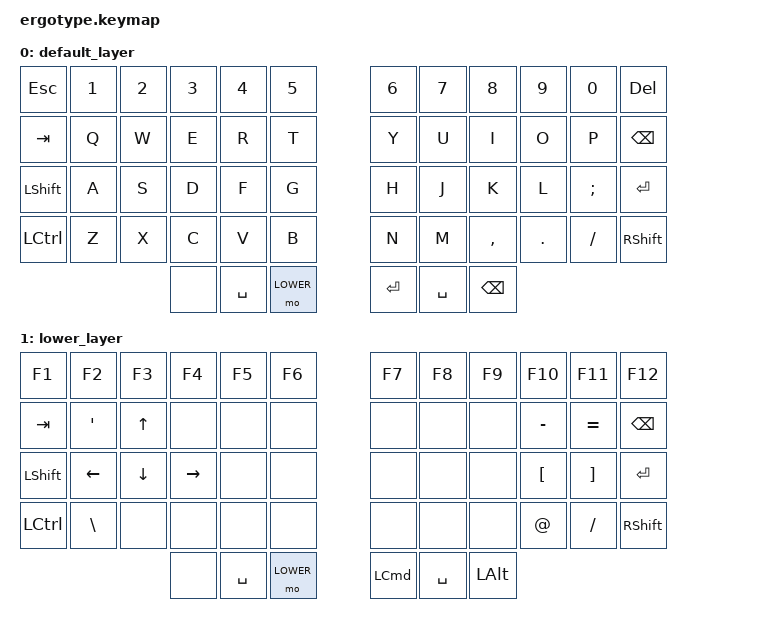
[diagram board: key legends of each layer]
#include <behaviors.dtsi>
#include <dt-bindings/zmk/keys.h>

#define DEFAULT 0
#define LOWER 1
// #define UPPER 2

/ {
    keymap {
        compatible = "zmk,keymap";

        default_layer {
// --------------------------------------------------------------------------------------------------------------------------------------------------------------------
// |   ESC   |    1    |    2    |    3    |    4    |    5    |                        |    6    |    7    |    8    |    9    |    0    |   DEL   |
// |   TAB   |    q    |    w    |    e    |    r    |    t    |                        |    y    |    u    |    i    |    o    |    p    |  BSPC   |
// |  SHIFT  |    a    |    s    |    d    |    f    |    g    |                        |    h    |    j    |    k    |    l    |    ;    |  ENTER  |
// |  CRTL   |    z    |    x    |    c    |    v    |    b    |                        |    n    |    m    |    ,    |    .    |    /    |  RSHIFT |
//                                         |   F2    |  SPACE  |   F1   |     |  ENTER  |  SPACE  |   BSPC  |
            bindings = <
                &kp ESC    &kp N1   &kp N2   &kp N3    &kp N4    &kp N5                                                &kp N6    &kp N7    &kp N8    &kp N9    &kp N0   &kp DEL
                &kp TAB    &kp Q    &kp W    &kp E     &kp R     &kp T                                                 &kp Y     &kp U     &kp I     &kp O     &kp P    &kp BSPC
                &kp LSHIFT &kp A    &kp S    &kp D     &kp F     &kp G                                                 &kp H     &kp J     &kp K     &kp L     &kp SEMI &kp ENTER
                &kp LCTRL  &kp Z    &kp X    &kp C     &kp V     &kp B                                                 &kp N     &kp M     &kp COMMA &kp DOT   &kp FSLH &kp RSHIFT
                                                       &none     &kp SPACE &mo LOWER                             &kp ENTER &kp SPACE &kp BSPC
            >;
        };

        lower_layer {
            // --------------------------------------------------------------------------------------------------------------------------------------------------------------------
            // |   F1    |    F2   |    F3   |    F4   |    F5   |    F6   |                        |    F7   |    F8   |    F9   |   F10   |   F11   |   F12   |
            // |   TAB   |    `    |    UP   |         |         |         |                        |         |         |         |    -    |    =    |  BSPC   |
            // |  SHIFT  |   LEFT  |  DOWN   |  RIGHT  |         |         |                        |         |         |         |    [    |    ]    |  ENTER  |
            // |  CRTL   |    \    |         |         |         |         |                        |         |         |         |    '    |    #    |  RSHIFT |
            //                                         |   F2    |  SPACE  |   F1   |     |   WND   |  SPACE  |   ALT   |

            bindings = <
                &kp F1     &kp F2   &kp F3   &kp F4    &kp F5    &kp F6                                &kp F7    &kp F8    &kp F9    &kp F10    &kp F11   &kp F12
                &kp TAB    &kp SQT  &kp UP   &none     &none     &none                                 &none     &none     &none     &kp MINUS  &kp EQUAL &kp BSPC
                &kp LSHIFT &kp LEFT &kp DOWN &kp RIGHT &none     &none                                 &none     &none     &none     &kp LBKT   &kp RBKT  &kp ENTER
                &kp LCTRL  &kp BSLH &none    &none     &none     &none                                 &none     &none     &none     &kp AT     &kp FSLH  &kp RSHIFT
                                                       &none     &kp SPACE &mo LOWER          &kp LCMD &kp SPACE &kp LALT
            >;
        };
    };
};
